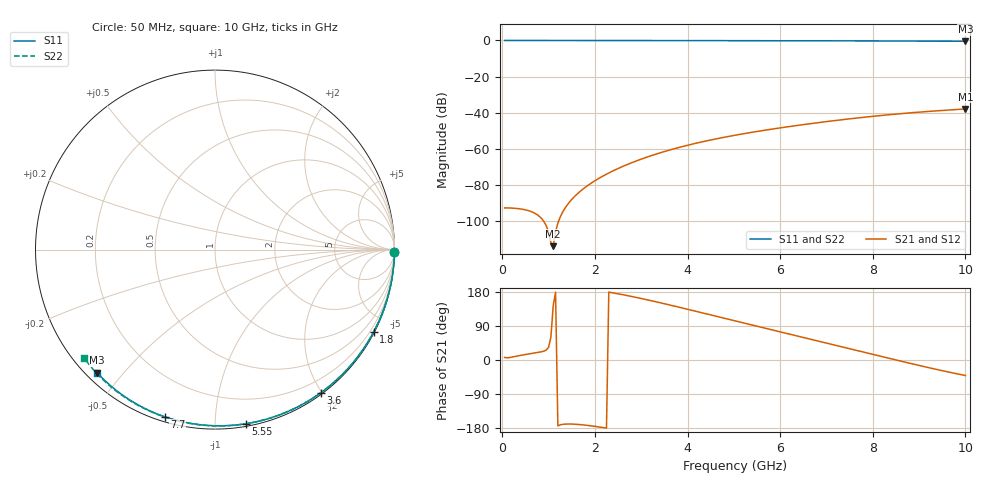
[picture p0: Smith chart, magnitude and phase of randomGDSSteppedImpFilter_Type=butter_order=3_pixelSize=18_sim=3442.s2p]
! freq	dB(S11)	phase(S11)	dB(S12)	phase(S12)
!  dB(S21)	phase(S21)	dB(S22)	phase(S22)
!S-par simulation data
#  GHz  S  DB  R 50
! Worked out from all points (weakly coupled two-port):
!   200 points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, 50 MHz to 10 GHz, reference 50 ohm
!   highest |S21| = -37.94 dB at 10 GHz (marker M1); lowest = -113.9 dB at 1.1 GHz (marker M2)
!   lowest |S11| = -0.4 dB at 10 GHz (marker M3), VSWR 38.94, Z = 1.52 - j21.3 ohm
!   |S11| at or under -10 dB: nowhere
!   |S22| runs from -0.5 to 0.0 dB; largest |S21 - S12| = 0
!   S11 on the Smith chart (normalised r, x): 50 MHz: open; 1.8 GHz: 0.04, -4.10; 3.6 GHz: 0.02, -1.98; 5.55 GHz: 0.02, -1.19; 7.7 GHz: 0.02, -0.74; 10 GHz: 0.03, -0.43
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0.05  -0.00 -0.8  -92.73 6.8  -92.73 6.8  -0.00 -0.8
0.55  -0.01 -8.5  -94.13 15.5  -94.13 15.5  -0.01 -8.9
1.1  -0.02 -16.9  -113.92 143.7  -113.92 143.7  -0.02 -17.7
1.75  -0.03 -26.6  -82.13 -171.3  -82.13 -171.3  -0.04 -28.0
1.8  -0.03 -27.4  -81.15 -172.0  -81.15 -172.0  -0.04 -28.8
1.85  -0.04 -28.1  -80.23 -172.7  -80.23 -172.7  -0.04 -29.6
2.25  -0.04 -34.1  -74.03 -179.8  -74.03 -179.8  -0.05 -35.8
2.45  -0.05 -37.0  -71.49 175.9  -71.49 175.9  -0.05 -38.9
2.65  -0.05 -39.9  -69.21 171.2  -69.21 171.2  -0.05 -41.9
3  -0.06 -45.0  -65.71 162.3  -65.71 162.3  -0.06 -47.3
3.4  -0.07 -50.7  -62.29 151.4  -62.29 151.4  -0.07 -53.3
3.6  -0.07 -53.6  -60.77 145.7  -60.77 145.7  -0.08 -56.2
3.9  -0.08 -57.8  -58.69 136.9  -58.69 136.9  -0.08 -60.6
4.3  -0.09 -63.3  -56.23 124.9  -56.23 124.9  -0.09 -66.4
5.05  -0.11 -73.4  -52.37 102.4  -52.37 102.4  -0.12 -77.0
5.55  -0.13 -80.0  -50.18 87.5  -50.18 87.5  -0.14 -83.8
6.1  -0.15 -87.0  -48.04 71.3  -48.04 71.3  -0.16 -91.2
6.7  -0.18 -94.6  -45.92 53.6  -45.92 53.6  -0.19 -99.1
7.7  -0.24 -106.8  -42.83 23.9  -42.83 23.9  -0.26 -112.0
8.35  -0.29 -114.5  -41.12 4.5  -41.12 4.5  -0.31 -120.1
9.2  -0.37 -124.5  -39.30 -20.0  -39.30 -20.0  -0.39 -130.6
10  -0.45 -133.7  -37.94 -40.9  -37.94 -40.9  -0.48 -140.5
